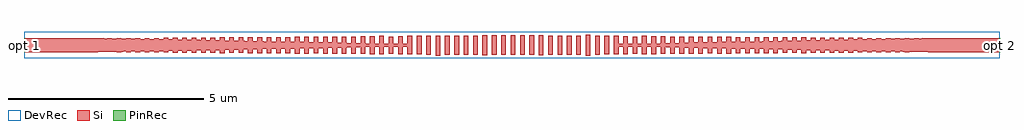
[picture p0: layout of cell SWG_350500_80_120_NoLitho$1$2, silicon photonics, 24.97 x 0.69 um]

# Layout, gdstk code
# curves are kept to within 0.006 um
import gdstk
lib = gdstk.Library(unit=1e-6, precision=1e-09)
def R(c, l, rs):  # rectangles x0, y0, x1, y1
    for r in rs: c.add(gdstk.rectangle(r[:2], r[2:], *l))
def A(c, l, x, y, w, h, nx, ny, dx, dy):  # array of equal rectangles
    R(c, l, [(x+i*dx, y+j*dy, x+i*dx+w, y+j*dy+h) for i in range(nx) for j in range(ny)])
def P(c, l, *ps):  # polygons
    for p in ps: c.add(gdstk.Polygon(p, *l))
Si = (1, 0)
PinRec = (1, 10)
DevRec = (68, 0)

swg_350500_80_120_nolith = lib.new_cell('SWG_350500_80_120_NoLitho$1$2')
A(swg_350500_80_120_nolith, Si, -208.56, -4.572, 0.12, 0.5, 3, 1, 0.24, 0)
A(swg_350500_80_120_nolith, Si, -208.08, -4.572, 0.12, 0.5, 3, 1, 0.24, 0)
R(swg_350500_80_120_nolith, Si, [(-210,-4.589,-209.88,-4.075), (-206.16,-4.589,-206.04,-4.055), (-208.8,-4.575,-208.68,-4.069), (-207.36,-4.575,-207.24,-4.069), (-209.52,-4.568,-209.4,-4.076), (-206.64,-4.568,-206.52,-4.076), (-209.28,-4.566,-209.16,-4.078), (-206.88,-4.566,-206.76,-4.078), (-209.04,-4.565,-208.92,-4.079), (-207.12,-4.565,-207,-4.079), (-210.24,-4.564,-210.12,-4.08), (-205.92,-4.564,-205.8,-4.08), (-209.76,-4.562,-209.64,-4.082), (-206.4,-4.562,-206.28,-4.082), (-211.44,-4.56,-211.32,-4.084), (-204.72,-4.56,-204.6,-4.084), (-210.72,-4.559,-210.6,-4.085), (-210.48,-4.559,-210.36,-4.085), (-205.68,-4.559,-205.56,-4.085), (-205.44,-4.559,-205.32,-4.085), (-211.68,-4.549,-211.56,-4.095), (-204.48,-4.549,-204.36,-4.095), (-210.96,-4.548,-210.84,-4.096), (-205.2,-4.548,-205.08,-4.096), (-211.92,-4.546,-211.8,-4.098), (-204.24,-4.546,-204.12,-4.098), (-212.64,-4.544,-212.52,-4.1), (-211.2,-4.544,-211.08,-4.1), (-204.96,-4.544,-204.84,-4.1), (-203.52,-4.544,-203.4,-4.1), (-212.4,-4.543,-212.28,-4.101), (-212.16,-4.543,-212.04,-4.101), (-204,-4.543,-203.88,-4.101), (-203.76,-4.543,-203.64,-4.101), (-212.88,-4.538,-212.76,-4.106), (-203.28,-4.538,-203.16,-4.106), (-213.6,-4.537,-213.48,-4.107), (-202.56,-4.537,-202.44,-4.107), (-213.36,-4.536,-213.24,-4.108), (-202.8,-4.536,-202.68,-4.108), (-213.12,-4.533,-213,-4.111), (-203.04,-4.533,-202.92,-4.111), (-214.32,-4.53,-214.2,-4.114), (-201.84,-4.53,-201.72,-4.114), (-214.56,-4.528,-214.44,-4.116), (-201.6,-4.528,-201.48,-4.116), (-214.08,-4.527,-213.96,-4.117), (-202.08,-4.527,-201.96,-4.117), (-213.84,-4.526,-213.72,-4.118), (-202.32,-4.526,-202.2,-4.118), (-214.8,-4.523,-214.68,-4.121), (-201.36,-4.523,-201.24,-4.121), (-215.52,-4.522,-215.4,-4.122), (-200.64,-4.522,-200.52,-4.122), (-215.28,-4.521,-215.16,-4.123), (-200.88,-4.521,-200.76,-4.123), (-215.04,-4.52,-214.92,-4.124), (-201.12,-4.52,-201,-4.124), (-215.76,-4.518,-215.64,-4.126), (-200.4,-4.518,-200.28,-4.126), (-216,-4.513,-215.88,-4.131), (-200.16,-4.513,-200.04,-4.131), (-216.72,-4.511,-216.6,-4.133), (-199.44,-4.511,-199.32,-4.133), (-216.48,-4.51,-216.36,-4.134), (-199.68,-4.51,-199.56,-4.134), (-216.24,-4.509,-216.12,-4.135), (-199.92,-4.509,-199.8,-4.135), (-216.96,-4.507,-216.84,-4.137), (-199.2,-4.507,-199.08,-4.137), (-217.2,-4.505,-217.08,-4.139), (-198.96,-4.505,-198.84,-4.139), (-217.68,-4.503,-217.56,-4.141), (-217.44,-4.503,-217.32,-4.141), (-198.72,-4.503,-198.6,-4.141), (-198.48,-4.503,-198.36,-4.141), (-217.92,-4.502,-217.8,-4.142), (-198.24,-4.502,-198.12,-4.142), (-218.16,-4.498,-218.04,-4.146), (-198,-4.498,-197.88,-4.146), (-220.52,-4.497,-218.64,-4.147), (-197.4,-4.497,-195.57,-4.147), (-218.4,-4.496,-218.28,-4.148), (-197.76,-4.496,-197.64,-4.148)])
P(swg_350500_80_120_nolith, Si, [(-218.64,-4.497),(-218.64,-4.147),(-212.926,-4.245),(-211.62,-4.281),(-210.64,-4.282),(-210.64,-4.362),(-211.62,-4.363),(-212.926,-4.399)],
  [(-197.4,-4.497),(-203.114,-4.399),(-204.42,-4.363),(-205.4,-4.362),(-205.4,-4.282),(-204.42,-4.281),(-203.114,-4.245),(-197.4,-4.147)])
R(swg_350500_80_120_nolith, DevRec, [(-220.52,-4.662,-195.57,-3.972)])
swg_350500_80_120_nolith.add(gdstk.FlexPath([(-220.51,-4.322),(-220.53,-4.322)], 0.35, ends="flush", simple_path=True, layer=1, datatype=10))  # PinRec
swg_350500_80_120_nolith.add(gdstk.FlexPath([(-195.58,-4.322),(-195.56,-4.322)], 0.35, ends="flush", simple_path=True, layer=1, datatype=10))  # PinRec
swg_350500_80_120_nolith.add(gdstk.Label('opt 1', (-220.52,-4.322), layer=1, texttype=10))
swg_350500_80_120_nolith.add(gdstk.Label('opt 2', (-195.57,-4.322), layer=1, texttype=10))

lib.write_gds('SWG_350500_80_120_NoLitho_1_2.gds')
